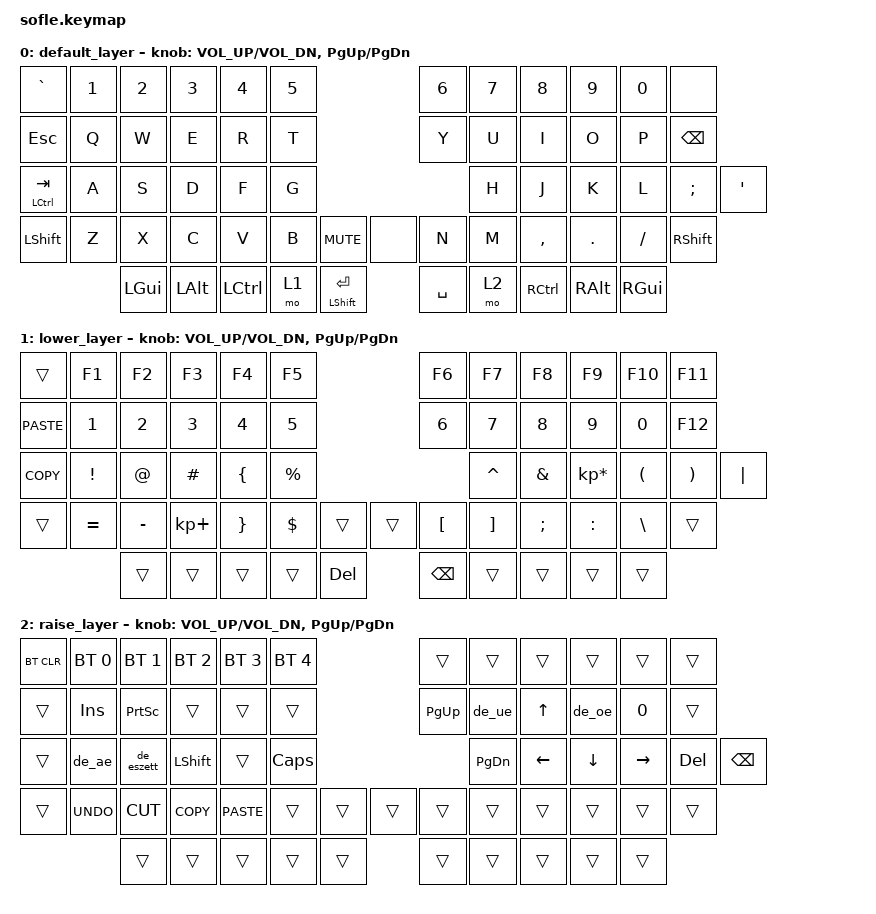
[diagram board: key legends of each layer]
/*
 * Copyright (c) 2020 The ZMK Contributors
 *
 * SPDX-License-Identifier: MIT
 */
#include <behaviors.dtsi>
#include <dt-bindings/zmk/keys.h>
#include <dt-bindings/zmk/bt.h>
#include "helper.h"
#include "international_chars/german.dtsi"

&mt {
    tapping-term-ms = <200>;
};

/ {
    keymap {
        compatible = "zmk,keymap";

        default_layer {
// ------------------------------------------------------------------------------------------------------------
// |  `    |  1  |  2  |  3   |  4   |  5   |                   |  6   |  7    |  8    |  9   |   0   |       |
// |  ESC  |  Q  |  W  |  E   |  R   |  T   |                   |  Y   |  U    |  I    |  O   |   P   | BKSPC |
// |  TAB  |  A  |  S  |  D   |  F   |  G   |                   |  H   |  J    |  K    |  L   |   ;   |   '   |
// | SHIFT |  Z  |  X  |  C   |  V   |  B   |  MUTE  |  |       |  N   |  M    |  ,    |  .   |   /   | SHIFT |
//               | GUI | ALT  | CTRL | LOWER|  ENTER |  | SPACE | RAISE| CTRL  | ALT   | GUI  |
            bindings = <
&kp GRAVE &kp N1 &kp N2   &kp N3   &kp N4    &kp N5                      &kp N6 &kp N7    &kp N8    &kp N9   &kp N0   &none
&kp ESC   &kp Q  &kp W    &kp E    &kp R     &kp T                       &kp Y  &kp U     &kp I     &kp O    &kp P    &kp BSPC
&mt LCTRL TAB   &kp A  &kp S    &kp D    &kp F     &kp G                       &kp H  &kp J     &kp K     &kp L    &kp SEMI &kp SQT
&kp LSHFT &kp Z  &kp X    &kp C    &kp V     &kp B  &kp C_MUTE &none     &kp N  &kp M     &kp COMMA &kp DOT  &kp FSLH &kp RSHFT
                 &kp LGUI &kp LALT &kp LCTRL &mo 1  &mt LSHIFT RET    &kp SPACE &mo 2  &kp RCTRL &kp RALT  &kp RGUI
            >;

            sensor-bindings = <&inc_dec_kp C_VOL_UP C_VOL_DN &inc_dec_kp PG_UP PG_DN>;
        };

        lower_layer {
// TODO: Some binds are waiting for shifted keycode support.
// ------------------------------------------------------------------------------------------------------------
// |       |  F1 |  F2 |  F3  |  F4  |  F5  |                   |  F6  |  F7   |  F8   |  F9  |  F10  |  F11  |
// | `     |   1 |   2 |   3  |   4  |   5  |                   |   6  |   7   |   8   |   9  |    0  |  F12  |
// |       |  !  |  @  |  #   |   {  |  %   |                   |  ^   |  &    |  *    |  (   |   )   |   |   |
// |       |  =  |  -  |  +   |   }  |  $   |        |  |       |  [   |  ]    |  ;    |  :   |   \   |       |
//               |     |      |      |      |        |  |       |      |       |       |      |
            bindings = <
&trans    &kp F1    &kp F2    &kp F3      &kp F4    &kp F5                    &kp F6    &kp F7   &kp F8          &kp F9    &kp F10   &kp F11
&kp K_PASTE &kp N1    &kp N2    &kp N3      &kp N4    &kp N5                    &kp N6    &kp N7   &kp N8          &kp N9    &kp N0    &kp F12
&kp K_COPY    &kp EXCL  &kp AT    &kp HASH    &kp LBRC  &kp PRCNT                 &kp CARET &kp AMPS &kp KP_MULTIPLY &kp LPAR  &kp RPAR  &kp PIPE
&trans    &kp EQUAL &kp MINUS &kp KP_PLUS &kp RBRC  &kp DLLR  &trans   &trans &kp LBKT  &kp RBKT &kp SEMI        &kp COLON &kp BSLH  &trans
                    &trans    &trans      &trans    &trans    &kp DEL   &kp BSPC &trans    &trans   &trans          &trans
            >;

            sensor-bindings = <&inc_dec_kp C_VOL_UP C_VOL_DN &inc_dec_kp PG_UP PG_DN>;
        };

        raise_layer {
// ------------------------------------------------------------------------------------------------------------
// |BTCLR| BT1  | BT2  |  BT3  |  BT4  |  BT5 |                |      |      |       |      |       |       |
// |     | INS  | PSCR | GUI   |       |      |                | PGUP |      |   ^   |      |       |       |
// |     | ALT  | CTRL | SHIFT |       | CAPS |                | PGDN |   <- |   v   |  ->  |  DEL  | BKSPC |
// |     | UNDO | CUT  | COPY  | PASTE |      |      |  |      |      |      |       |      |       |       |
//              |      |       |       |      |      |  |      |      |      |       |      |
            bindings = <
&bt BT_CLR &bt BT_SEL 0 &bt BT_SEL 1 &bt BT_SEL 2 &bt BT_SEL 3 &bt BT_SEL 4             &trans    &trans    &trans   &trans    &trans  &trans
&trans     &kp INS      &kp PSCRN    &trans  &trans       &trans                   &kp PG_UP &de_ue    &kp UP   &de_oe    &kp N0  &trans
&trans     &de_ae     &de_eszett    &kp LSHFT    &trans       &kp CLCK                 &kp PG_DN &kp LEFT  &kp DOWN &kp RIGHT &kp DEL &kp BSPC
&trans     &kp K_UNDO   &kp K_CUT    &kp K_COPY   &kp K_PASTE  &trans  &trans   &trans  &trans    &trans    &trans   &trans    &trans  &trans
                        &trans       &trans       &trans       &trans  &trans   &trans  &trans    &trans    &trans   &trans
            >;

            sensor-bindings = <&inc_dec_kp C_VOL_UP C_VOL_DN &inc_dec_kp PG_UP PG_DN>;
        };
    };
};
